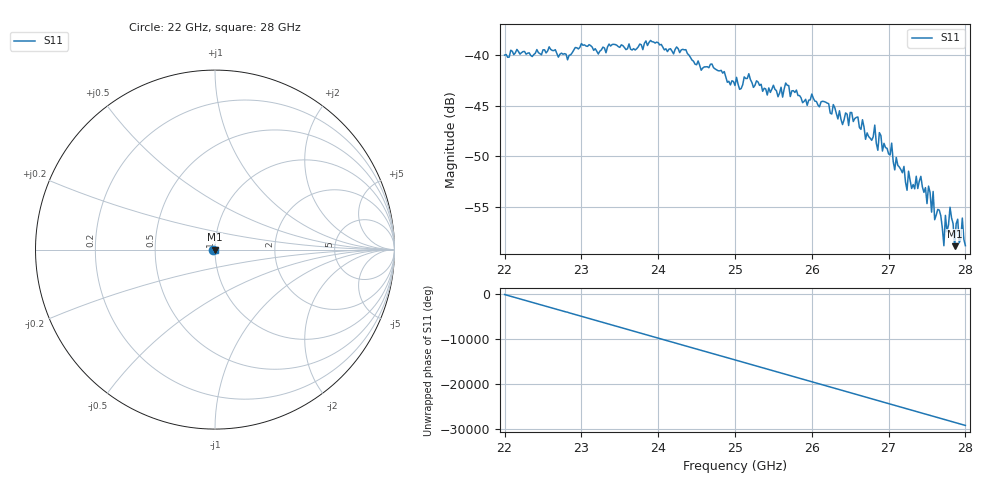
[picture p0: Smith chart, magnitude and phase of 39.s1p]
#  HZ  S  RI  R  50.00
! Rohde & Schwarz ZVA40 4Ports - Version 3.90 - 1145.1110k42 SN: 100403
! Date: 2023-10-04 08:46:01
! Measurement: S12
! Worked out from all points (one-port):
!   301 points, 22 GHz to 28 GHz, reference 50 ohm
!   lowest |S11| = -58.9 dB at 27.86 GHz (marker M1), VSWR 1.00, Z = 49.9 - j0.0296 ohm
!   |S11| at or under -10 dB: start of sweep to end of sweep
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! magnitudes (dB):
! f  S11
! 22 GHz  -40.0
! 22.76 GHz  -39.9
! 23.5 GHz  -39.2
! 24.26 GHz  -39.3
! 25 GHz  -43.0
! 25.76 GHz  -43.5
! 26.5 GHz  -45.7
! 26.7 GHz  -48.3
! 26.82 GHz  -46.9
! 26.86 GHz  -49.4
! 27.04 GHz  -48.7
! 27.08 GHz  -51.3
! 27.2 GHz  -51.0
! 27.24 GHz  -53.3
! 27.26 GHz  -51.5
! 27.5 GHz  -54.7
! 27.52 GHz  -52.9
! 27.56 GHz  -55.5
! 27.58 GHz  -53.5
! 27.6 GHz  -56.3
! 27.66 GHz  -55.3
! 27.72 GHz  -58.8
! 27.74 GHz  -55.8
! 27.76 GHz  -57.5
! 27.8 GHz  -55.0
! 27.86 GHz  -58.9
! 27.96 GHz  -56.1
! 28 GHz  -58.8
